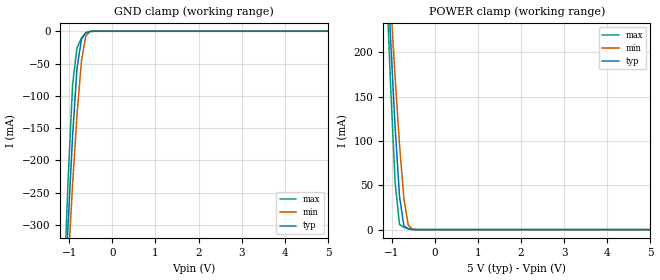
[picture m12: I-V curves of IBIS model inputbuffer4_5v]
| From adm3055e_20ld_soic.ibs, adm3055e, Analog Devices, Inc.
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|   Model: inputbuffer4_5v
[Model]   inputbuffer4_5v
Model_type Input
Vinl=1.75
Vinh=3.25
|   variable   typ   min   max
C_comp   2.714827e-12  2.041851e-12 2.987911e-12
[Temperature Range]   25   105   -40
[Voltage Range]   5   4.5   5.5
[Power Clamp Reference] 5   4.5   5.5
[GND Clamp Reference]   0   0   0
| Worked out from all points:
|   GND clamp passes 1 mA (typ) near -0.55 V on its own axis
|   POWER clamp passes 1 mA (typ) near -0.62 V on its own axis
[Power_clamp]
| Voltage   I(typ)   I(min)   I(max)
-5V       6.265A     4.605A     8.64A
-1.122V   316.6mA    348.1mA    283.2mA
-1.02V    212.1mA    256.9mA    159.8mA
-918.4mV  116.1mA    172.2mA    53.12mA
-816.3mV  37.48mA    95.95mA    5.934mA
-714.3mV  4.076mA    34.52mA    2.523mA
-612.2mV  739.7uA    4.677mA    881.6uA
-510.2mV  120.7uA    349.4uA    116uA
5V        -139.8pA   -416.9uA   -102.2pA
[GND_clamp]
| Voltage   I(typ)   I(min)   I(max)
-5V       -9.924A    -7.798A    -12.74A
-1.122V   -448.8mA   -498.7mA   -403.2mA
-1.02V    -296.2mA   -361.1mA   -227mA
-918.4mV  -162mA     -236.9mA   -82.35mA
-816.3mV  -57.53mA   -129.4mA   -25.82mA
-714.3mV  -12.94mA   -46.45mA   -10.33mA
-612.2mV  -2.281mA   -7.411mA   -2.38mA
-510.2mV  -165uA     -529.1uA   -149uA
-408.2mV  -5.418uA   -26.56uA   -2.379uA
5V        141.2pA    281.3uA    128.8pA
